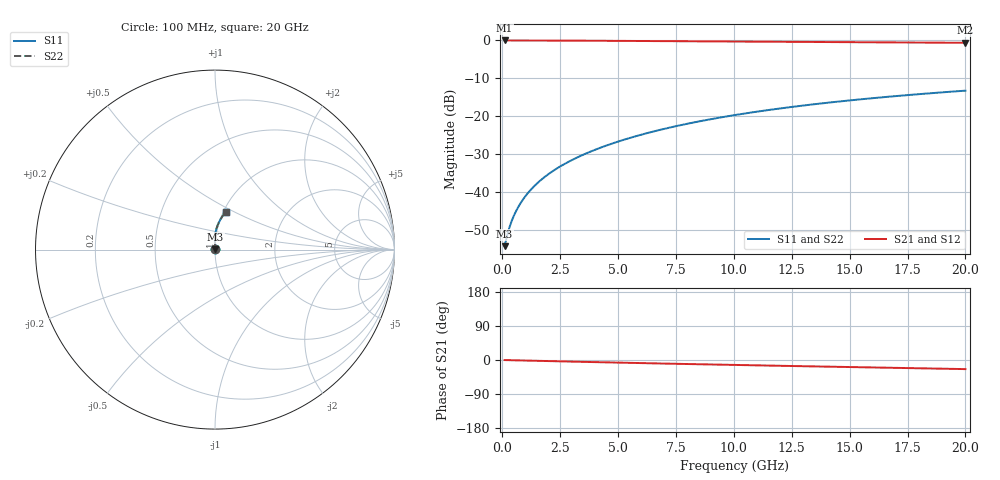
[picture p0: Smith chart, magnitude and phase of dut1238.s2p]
! Touchstone file exported from HFSS 2024.1.0
!  File:  C:/UserFiles/LocalFiles/RDL_TSV_Batchsim/temp_RDL_bottom_1238_1780244833.aedt
!  Generated:  12:29:31 AM Jun  1, 2026
!  Design:  RDL_bottom
!  Project:  temp_RDL_bottom_1238_1780244833
!  Setup:  Setup1
!  Solution:  Sweep
! Variables:
!  dtsv = 10.80580581um
!  hbump = 3um
!  htsv = 62.84um
!  ldown = 341.18um
!  lrdl = 100um
!  p = 40
!  p1 = 47.58um
!  rhole = 1um
!  t = 450um
!  tdown = 3.31um
!  trdl = 3.915915916um
!  wdown = 26.03um
!  wrdl = 20um
# GHz S MA R 50.000000
! Terminal data exported
! Port[1] = RDL1_T1
! Port[2] = RDL1_T2
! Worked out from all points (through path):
!   200 points, 100 MHz to 20 GHz, reference 50 ohm
!   highest |S21| = -0.01 dB at 100 MHz (marker M1); lowest = -0.6 dB at 20 GHz (marker M2)
!   group delay of S21, straight-line fit = 3.29 ps
!   lowest |S11| = -54.3 dB at 100 MHz (marker M3), VSWR 1.00, Z = 50.2 + j0.0997 ohm
!   |S11| at or under -10 dB: start of sweep to end of sweep
!   |S22| runs from -54.3 to -13.3 dB; largest |S21 - S12| = 2e-15
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0.1  0.001934 30.9  0.9983 -0.2  0.9983 -0.2  0.001934 30.9
! Gamma 0 0 0 0
! Port Impedance 50 0 50 0
0.2  0.002606 47.7  0.9982 -0.3  0.9982 -0.3  0.002606 47.7
0.3  0.003356 56.7  0.9981 -0.4  0.9981 -0.4  0.003356 56.7
0.4  0.004116 62.3  0.998 -0.6  0.998 -0.6  0.004116 62.3
0.5  0.00488 66.4  0.9978 -0.7  0.9978 -0.7  0.00488 66.4
0.6  0.005652 69.6  0.9977 -0.9  0.9977 -0.9  0.005652 69.6
0.8  0.007225 74.2  0.9975 -1.2  0.9975 -1.2  0.007225 74.2
1  0.008836 77.5  0.9973 -1.5  0.9973 -1.5  0.008836 77.5
1.2  0.01048 79.8  0.997 -1.7  0.997 -1.7  0.01048 79.8
1.7  0.0147 83.8  0.9962 -2.4  0.9962 -2.4  0.0147 83.8
2.2  0.01907 86.2  0.9952 -3.1  0.9952 -3.1  0.01907 86.2
2.8  0.02451 88.1  0.9937 -4.0  0.9937 -4.0  0.02451 88.1
3.5  0.03114 89.5  0.9916 -4.9  0.9916 -4.9  0.03114 89.5
4.2  0.03806 90.3  0.9893 -5.9  0.9893 -5.9  0.03806 90.3
5  0.04631 90.7  0.9863 -6.9  0.9863 -6.9  0.04632 90.8
6.8  0.06598 90.4  0.9792 -9.2  0.9792 -9.2  0.066 90.4
8.4  0.08434 89.1  0.9727 -11.1  0.9727 -11.1  0.08437 89.1
10.1  0.1043 87.2  0.966 -13.1  0.966 -13.1  0.1043 87.2
11.7  0.1232 85.2  0.9598 -15.0  0.9598 -15.0  0.1232 85.2
13.4  0.1431 83.0  0.9534 -16.9  0.9534 -16.9  0.1432 83.0
16.7  0.181 78.5  0.9414 -20.5  0.9414 -20.5  0.1811 78.6
20  0.2174 74.2  0.9295 -24.0  0.9295 -24.0  0.2175 74.3
